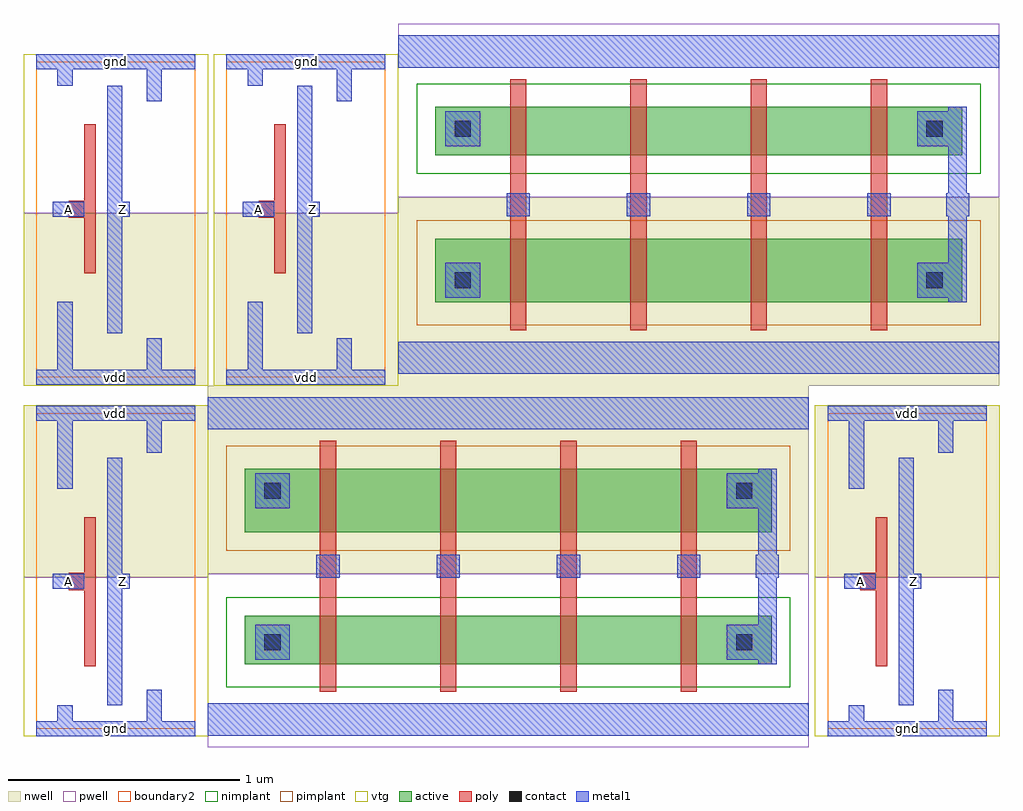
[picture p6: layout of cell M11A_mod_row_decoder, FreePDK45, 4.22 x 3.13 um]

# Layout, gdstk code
import gdstk
lib = gdstk.Library(unit=1e-6, precision=1e-09)
def R(c, l, rs):  # rectangles x0, y0, x1, y1
    for r in rs: c.add(gdstk.rectangle(r[:2], r[2:], *l))
def A(c, l, x, y, w, h, nx, ny, dx, dy):  # array of equal rectangles
    R(c, l, [(x+i*dx, y+j*dy, x+i*dx+w, y+j*dy+h) for i in range(nx) for j in range(ny)])
active = (1, 0)
pwell = (2, 0)
nwell = (3, 0)
nimplant = (4, 0)
pimplant = (5, 0)
vtg = (6, 0)
poly = (9, 0)
contact = (10, 0)
metal1 = (11, 0)
boundary2 = (239, 0)

m11a_mod_row_decoder = lib.new_cell('M11A_mod_row_decoder')
R(m11a_mod_row_decoder, active, [(0.982,0.36,3.262,0.57), (0.982,0.93,3.262,1.205), (1.805,1.925,4.085,2.2), (1.805,2.56,4.085,2.77)])
R(m11a_mod_row_decoder, pwell, [(0.822,0,3.422,0.75), (0.025,0.047,0.823,0.735), (3.448,0.047,4.246,0.735), (0.025,2.31,0.823,2.998), (0.847,2.31,1.645,2.998), (1.645,2.38,4.245,3.13)])
R(m11a_mod_row_decoder, nwell, [(0.025,0.735,0.823,1.48), (3.448,0.735,4.246,1.48), (0.822,0.75,3.422,1.565), (0.025,1.565,0.823,2.31), (0.847,1.565,1.645,2.31), (1.645,1.565,4.245,2.38)])
R(m11a_mod_row_decoder, nimplant, [(0.902,0.26,3.342,0.65), (1.725,2.48,4.165,2.87)])
R(m11a_mod_row_decoder, pimplant, [(0.902,0.85,3.342,1.305), (1.725,1.825,4.165,2.28)])
R(m11a_mod_row_decoder, vtg, [(0.025,0.047,0.823,0.735), (3.448,0.047,4.246,0.735), (0.025,0.735,0.823,1.48), (3.448,0.735,4.246,1.48), (0.025,1.565,0.823,2.31), (0.847,1.565,1.645,2.31), (0.025,2.31,0.823,2.998), (0.847,2.31,1.645,2.998)])
A(m11a_mod_row_decoder, poly, 1.307, 0.24, 0.07, 1.085, 4, 1, 0.52, 0)
A(m11a_mod_row_decoder, poly, 2.13, 1.805, 0.07, 1.085, 4, 1, 0.52, 0)
R(m11a_mod_row_decoder, poly, [(0.288,0.35,0.338,0.995), (3.711,0.35,3.761,0.995), (0.22,0.68,0.288,0.755), (3.643,0.68,3.711,0.755), (0.288,2.05,0.338,2.695), (1.11,2.05,1.16,2.695), (0.22,2.29,0.288,2.365), (1.042,2.29,1.11,2.365)])
R(m11a_mod_row_decoder, contact, [(1.067,0.42,1.137,0.49), (3.107,0.42,3.177,0.49), (1.067,1.075,1.137,1.145), (3.107,1.075,3.177,1.145), (1.89,1.985,1.96,2.055), (3.93,1.985,4,2.055), (1.89,2.64,1.96,2.71), (3.93,2.64,4,2.71)])
A(m11a_mod_row_decoder, metal1, 1.292, 0.733, 0.1, 0.099, 4, 1, 0.52, 0)
A(m11a_mod_row_decoder, metal1, 2.115, 2.298, 0.1, 0.099, 4, 1, 0.52, 0)
R(m11a_mod_row_decoder, metal1, [(0.08,0.047,0.767,0.113), (0.172,0.047,0.237,0.183), (3.503,0.047,4.19,0.113), (3.595,0.047,3.66,0.183), (0.822,0.05,3.422,0.19), (2.072,0.07,2.172,0.17), (0.558,0.08,0.622,0.25), (3.981,0.08,4.045,0.25), (0.387,0.183,0.452,1.253), (3.81,0.183,3.875,1.253), (3.202,0.36,3.282,1.205), (1.027,0.38,1.177,0.53), (3.067,0.38,3.217,0.53), (0.152,0.685,0.288,0.75), (0.42,0.685,0.485,0.75), (3.575,0.685,3.711,0.75), (3.843,0.685,3.908,0.75), (3.192,0.733,3.292,0.832), (1.027,1.035,1.177,1.185), (3.067,1.035,3.217,1.185), (0.172,1.118,0.237,1.477), (3.595,1.118,3.66,1.477), (0.558,1.275,0.622,1.445), (3.981,1.275,4.045,1.445), (0.822,1.375,3.422,1.515), (2.072,1.395,2.172,1.495), (0.08,1.412,0.767,1.477), (3.503,1.412,4.19,1.477), (0.08,1.568,0.767,1.633), (0.172,1.568,0.237,1.927), (0.902,1.568,1.589,1.633), (0.994,1.568,1.059,1.927), (0.558,1.6,0.622,1.77), (1.38,1.6,1.444,1.77), (1.645,1.615,4.245,1.755), (2.895,1.635,2.995,1.735), (0.387,1.792,0.452,2.862), (1.209,1.792,1.274,2.862), (4.025,1.925,4.105,2.77), (1.85,1.945,2,2.095), (3.89,1.945,4.04,2.095), (0.152,2.295,0.288,2.36), (0.42,2.295,0.485,2.36), (0.974,2.295,1.11,2.36), (1.242,2.295,1.307,2.36), (4.015,2.298,4.115,2.397), (1.85,2.6,2,2.75), (3.89,2.6,4.04,2.75), (0.558,2.795,0.622,2.965), (1.38,2.795,1.444,2.965), (0.172,2.862,0.237,2.998), (0.994,2.862,1.059,2.998), (0.08,2.932,0.767,2.998), (0.902,2.932,1.589,2.998), (1.645,2.94,4.245,3.08), (2.895,2.96,2.995,3.06)])
R(m11a_mod_row_decoder, boundary2, [(0.08,0.08,0.767,1.445), (0.08,0.08,0.767,1.445), (3.503,0.08,4.19,1.445), (3.503,0.08,4.19,1.445), (0.08,1.6,0.767,2.965), (0.08,1.6,0.767,2.965), (0.902,1.6,1.589,2.965), (0.902,1.6,1.589,2.965)])
m11a_mod_row_decoder.add(gdstk.Label('A', (0.22,0.718), layer=11, texttype=0))
m11a_mod_row_decoder.add(gdstk.Label('Z', (0.452,0.718), layer=11, texttype=0))
m11a_mod_row_decoder.add(gdstk.Label('gnd', (0.425,0.08), layer=11, texttype=0))
m11a_mod_row_decoder.add(gdstk.Label('vdd', (0.425,1.445), layer=11, texttype=0))
m11a_mod_row_decoder.add(gdstk.Label('A', (1.042,2.327), layer=11, texttype=0))
m11a_mod_row_decoder.add(gdstk.Label('Z', (1.274,2.327), layer=11, texttype=0))
m11a_mod_row_decoder.add(gdstk.Label('gnd', (1.247,2.965), layer=11, texttype=0))
m11a_mod_row_decoder.add(gdstk.Label('vdd', (1.247,1.6), layer=11, texttype=0))
m11a_mod_row_decoder.add(gdstk.Label('A', (0.22,2.327), layer=11, texttype=0))
m11a_mod_row_decoder.add(gdstk.Label('Z', (0.452,2.327), layer=11, texttype=0))
m11a_mod_row_decoder.add(gdstk.Label('gnd', (0.425,2.965), layer=11, texttype=0))
m11a_mod_row_decoder.add(gdstk.Label('vdd', (0.425,1.6), layer=11, texttype=0))
m11a_mod_row_decoder.add(gdstk.Label('A', (3.643,0.718), layer=11, texttype=0))
m11a_mod_row_decoder.add(gdstk.Label('Z', (3.875,0.718), layer=11, texttype=0))
m11a_mod_row_decoder.add(gdstk.Label('gnd', (3.848,0.08), layer=11, texttype=0))
m11a_mod_row_decoder.add(gdstk.Label('vdd', (3.848,1.445), layer=11, texttype=0))

lib.write_gds('M11A_mod_row_decoder.gds')
